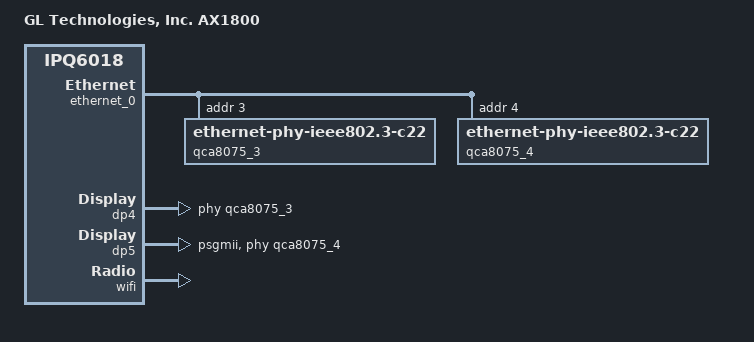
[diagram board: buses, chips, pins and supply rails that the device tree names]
/dts-v1/;
/*
 * Copyright (c) 2019, The Linux Foundation. All rights reserved.
 *
 * Permission to use, copy, modify, and/or distribute this software for any
 * purpose with or without fee is hereby granted, provided that the above
 * copyright notice and this permission notice appear in all copies.
 *
 * THE SOFTWARE IS PROVIDED "AS IS" AND THE AUTHOR DISCLAIMS ALL WARRANTIES
 * WITH REGARD TO THIS SOFTWARE INCLUDING ALL IMPLIED WARRANTIES OF
 * MERCHANTABILITY AND FITNESS. IN NO EVENT SHALL THE AUTHOR BE LIABLE FOR
 * ANY SPECIAL, DIRECT, INDIRECT, OR CONSEQUENTIAL DAMAGES OR ANY DAMAGES
 * WHATSOEVER RESULTING FROM LOSS OF USE, DATA OR PROFITS, WHETHER IN AN
 * ACTION OF CONTRACT, NEGLIGENCE OR OTHER TORTIOUS ACTION, ARISING OUT OF
 * OR IN CONNECTION WITH THE USE OR PERFORMANCE OF THIS SOFTWARE.
 */

#include "ipq6000-gl-ax1800.dtsi"

/ {
	model = "GL Technologies, Inc. AX1800";
	compatible = "glinet,gl-ax1800", "qcom,ipq6018", "qcom,ipq6018-cp03";

	aliases {
		ethernet3 = &dp4;
		ethernet4 = &dp5;
	};
};

&ethernet_0 {
	qca8075_3: ethernet-phy@3 {
        compatible = "ethernet-phy-ieee802.3-c22";
		reg = <3>;
	};
	
	qca8075_4: ethernet-phy@4 {
        compatible = "ethernet-phy-ieee802.3-c22";
		reg = <4>;
	};
};

&switch {
	switch_lan_bmp = <(ESS_PORT2|ESS_PORT3|ESS_PORT4|ESS_PORT5)>; /* lan port bitmap */

	qcom,port_phyinfo {
		port@3 {
			port_id = <4>;
			phy_address = <3>;
		};
		port@4 {
			port_id = <5>;
			phy_address = <4>;
		};
	};
};

&dp4 {
	phy-handle = <&qca8075_3>;
	status = "okay";
	label = "lan3";
};

&dp5 {
	phy-handle = <&qca8075_4>;
	phy-mode = "psgmii";
	status = "okay";
	label = "lan4";
};

&wifi {
	qcom,ath11k-calibration-variant = "GL-iNet-GL-AX1800";
};
